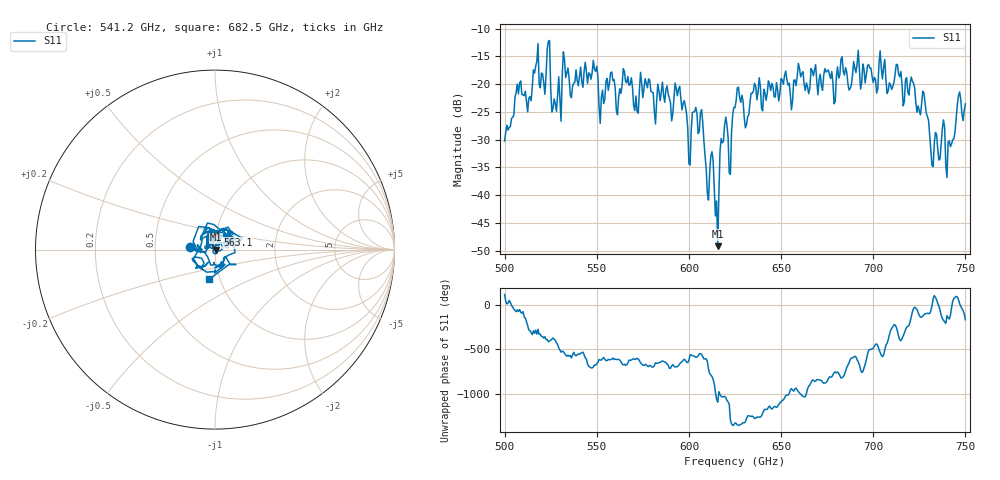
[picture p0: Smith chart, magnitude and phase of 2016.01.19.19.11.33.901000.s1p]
!Created with skrf (http://scikit-rf.org).
# GHz S RI R 50.0
!freq ReS11 ImS11
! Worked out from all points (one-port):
!   401 points, 500 GHz to 750 GHz, reference 50 ohm
!   lowest |S11| = -49.2 dB at 615.6 GHz (marker M1), VSWR 1.01, Z = 50.3 - j0.076 ohm
!   |S11| at or under -10 dB: start of sweep to end of sweep
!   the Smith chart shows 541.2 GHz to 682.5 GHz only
!   S11 on the Smith chart (normalised r, x): 541.2 GHz: 0.75, +0.02; 563.1 GHz: 1.01, +0.17; 682.5 GHz: 0.89, -0.30
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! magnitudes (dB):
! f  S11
! 500 GHz  -30.3
! 507.5 GHz  -21.7
! 513.1 GHz  -22.6
! 516.9 GHz  -16.8
! 523.8 GHz  -12.3
! 526.9 GHz  -22.7
! 531.2 GHz  -18.6
! 541.2 GHz  -16.9
! 562.5 GHz  -20.8
! 563.1 GHz  -21.7
! 593.8 GHz  -22.1
! 600 GHz  -34.4
! 606.9 GHz  -24.6
! 610 GHz  -39.7
! 612.5 GHz  -32.2
! 615.6 GHz  -49.2
! 618.8 GHz  -30.2
! 622.5 GHz  -36.3
! 625 GHz  -24.2
! 656.2 GHz  -22.9
! 682.5 GHz  -15.5
! 687.5 GHz  -20.8
! 718.8 GHz  -21.4
! 728.1 GHz  -23.5
! 731.9 GHz  -34.6
! 740.6 GHz  -30.5
! 746.2 GHz  -22.1
! 750 GHz  -23.5
